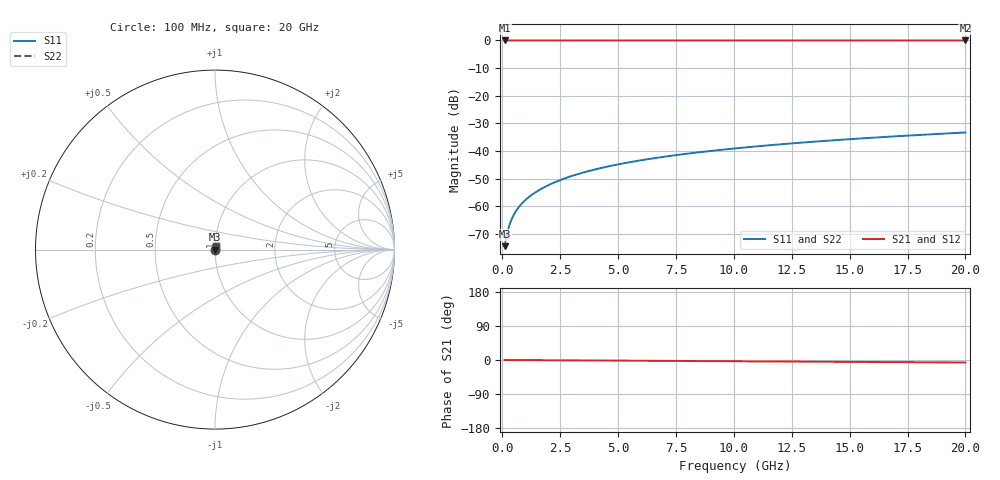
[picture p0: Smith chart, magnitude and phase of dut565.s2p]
! Touchstone file exported from HFSS 2026.1.0
!  File:  C:/ffzhzh/LocalFiles/Ansys_Project_Files/temp_train_TSV_565_1783024580_4048.aedt
!  Generated:  04:38:15 AM Jul  3, 2026
!  Design:  TSV
!  Project:  temp_train_TSV_565_1783024580_4048
! Variables:
!  h_bsmrdl = 2um
!  h_ox = 20um
!  h_rdl = 5um
!  h_sub = 61.28um
!  h_tmrdl = 5um
!  h_tsv = 61.28um
!  h_via = 3um
!  l_bsmrdl = 300um
!  l_sub = 417.68um
!  l_tmrdl = 200um
!  m_sub = 200um
!  pitch = 44.13um
!  r_tsv = 8.84um
!  s_tmrdl = 10um
!  w_bsmrdl = 18um
!  w_sub = 500um
!  w_tmrdl = 12um
!  x_tsv_center1 = 206um
!  x_tsv_center2 = 524um
!  x_tsv_center3 = 736um
!  x_tsv_center4 = 1054um
!  x_tsv_center5 = 1266um
!  x_tsv_center6 = 1584um
# GHz S MA R 50.000000
! Terminal data exported
! Port[1] = TSV1_1_T1
! Port[2] = TSV1_1_T2
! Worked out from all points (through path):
!   200 points, 100 MHz to 20 GHz, reference 50 ohm
!   highest |S21| = 0.00 dB at 100 MHz (marker M1); lowest = 0.0 dB at 20 GHz (marker M2)
!   lowest |S11| = -74.4 dB at 100 MHz (marker M3), VSWR 1.00, Z = 50 + j0.0143 ohm
!   |S11| at or under -10 dB: start of sweep to end of sweep
!   |S22| runs from -74.4 to -33.3 dB; largest |S21 - S12| = 3.7e-15
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0.1  0.0001901 48.8  0.9999 -0.0  0.9999 -0.0  0.0001901 48.8
! Gamma 0 0 0 0
! Port Impedance 50 0 50 0
0.2  0.0003143 64.6  0.9999 -0.1  0.9999 -0.1  0.0003143 64.6
0.3  0.0004467 70.5  0.9999 -0.1  0.9999 -0.1  0.0004467 70.5
0.4  0.0005783 73.2  0.9998 -0.1  0.9998 -0.1  0.0005783 73.2
0.5  0.0007067 74.7  0.9998 -0.2  0.9998 -0.2  0.0007067 74.7
0.6  0.0008315 75.7  0.9998 -0.2  0.9998 -0.2  0.0008315 75.7
0.7  0.000953 76.3  0.9998 -0.2  0.9998 -0.2  0.000953 76.3
0.8  0.001072 76.9  0.9998 -0.3  0.9998 -0.3  0.001072 76.9
1  0.001303 77.8  0.9997 -0.3  0.9997 -0.3  0.001303 77.8
1.4  0.001755 79.2  0.9997 -0.5  0.9997 -0.5  0.001755 79.2
1.7  0.002089 80.0  0.9997 -0.6  0.9997 -0.6  0.002089 80.0
2  0.002424 80.7  0.9996 -0.7  0.9996 -0.7  0.002424 80.7
2.7  0.003202 81.7  0.9996 -0.9  0.9996 -0.9  0.003202 81.7
3.5  0.004088 82.3  0.9995 -1.2  0.9995 -1.2  0.004088 82.3
4.2  0.004859 82.6  0.9995 -1.4  0.9995 -1.4  0.004859 82.6
5  0.005733 82.8  0.9994 -1.7  0.9994 -1.7  0.005733 82.8
6.8  0.007678 82.9  0.9993 -2.3  0.9993 -2.3  0.007678 82.9
8.3  0.009285 82.8  0.9992 -2.7  0.9992 -2.7  0.009285 82.8
10.1  0.0112 82.6  0.9991 -3.3  0.9991 -3.3  0.0112 82.6
13.4  0.0147 82.0  0.999 -4.4  0.999 -4.4  0.0147 82.0
16.7  0.01817 81.3  0.9988 -5.5  0.9988 -5.5  0.01817 81.3
20  0.02161 80.4  0.9986 -6.6  0.9986 -6.6  0.02161 80.4
